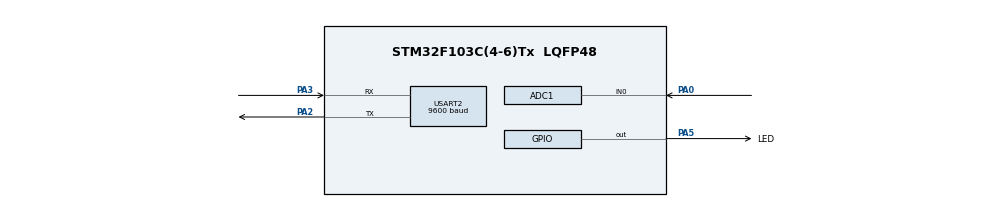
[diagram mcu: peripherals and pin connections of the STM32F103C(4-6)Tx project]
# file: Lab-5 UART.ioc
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ADC1.Channel-0\#ChannelRegularConversion=ADC_CHANNEL_0
ADC1.ContinuousConvMode=ENABLE
ADC1.NbrOfConversionFlag=1
ADC1.Rank-0\#ChannelRegularConversion=1
ADC1.SamplingTime-0\#ChannelRegularConversion=ADC_SAMPLETIME_1CYCLE_5
ADC1.master=1
Mcu.Family=STM32F1
Mcu.Name=STM32F103C(4-6)Tx
Mcu.Package=LQFP48
NVIC.PriorityGroup=NVIC_PRIORITYGROUP_4
NVIC.TIM2_IRQn=true\:0\:0\:false\:false\:true\:true\:true
NVIC.USART2_IRQn=true\:0\:0\:false\:false\:true\:true\:true
PA0-WKUP.Signal=ADCx_IN0
PA2.Mode=Asynchronous
PA2.Signal=USART2_TX
PA3.Mode=Asynchronous
PA3.Signal=USART2_RX
PA5.GPIO_Label=LED
PA5.Signal=GPIO_Output
ProjectManager.HeapSize=0x200
ProjectManager.StackSize=0x400
ProjectManager.TargetToolchain=STM32CubeIDE
RCC.APB1Freq_Value=8000000
RCC.APB2Freq_Value=8000000
SH.ADCx_IN0.0=ADC1_IN0,IN0
TIM2.Period=9
TIM2.Prescaler=7999
USART2.BaudRate=9600
USART2.VirtualMode=VM_ASYNC
VP_SYS_VS_ND.Mode=No_Debug
VP_TIM2_VS_ClockSourceINT.Mode=Internal
board=custom

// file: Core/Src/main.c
/* USER CODE BEGIN Header */
/**
 ******************************************************************************
 * @file           : main.c
 * @brief          : Main program body
 ******************************************************************************
 * @attention
 *
 * <h2><center>&copy; Copyright (c) 2023 STMicroelectronics.
 * All rights reserved.</center></h2>
 *
 * This software component is licensed by ST under BSD 3-Clause license,
 * the "License"; You may not use this file except in compliance with the
 * License. You may obtain a copy of the License at:
 *                        opensource.org/licenses/BSD-3-Clause
 *
 ******************************************************************************
 */
/* USER CODE END Header */
#include "main.h"

/* USER CODE BEGIN Includes */
#include <stdio.h>
#include <string.h>
/* USER CODE END Includes */

/* USER CODE BEGIN PD */
#define MAX_BUFFER_SIZE 30
#define TIMER_CYCLE 10
/* USER CODE END PD */

ADC_HandleTypeDef hadc1;

TIM_HandleTypeDef htim2;

UART_HandleTypeDef huart2;

/* USER CODE BEGIN PV */
static int timer1_counter = 0;
int timer1_flag = 0;
static uint8_t buffer_flag = 0;
static uint8_t receive_char = 0;
static uint8_t str[50];
static int ADC_value;

static enum { IDLE, SEND, WAIT } communication_state = IDLE;

static enum { NOTHING, START_SEND, DONE } communication_flag = NOTHING;

static enum { EMPTY, START, R, RS, RST, O, OK } command_state = EMPTY;
/* USER CODE END PV */

void SystemClock_Config(void);
static void MX_GPIO_Init(void);
static void MX_USART2_UART_Init(void);
static void MX_ADC1_Init(void);
static void MX_TIM2_Init(void);
/* USER CODE BEGIN PFP */
void HAL_TIM_PeriodElapsedCallback(TIM_HandleTypeDef* htim);
static void timer_run(void);
void setTimer1(int duration);
void HAL_UART_RxCpltCallback(UART_HandleTypeDef* huart);
void command_parser_fsm(void);
void uart_communication_fsm(void);
/* USER CODE END PFP */

/* USER CODE BEGIN 0 */
void HAL_TIM_PeriodElapsedCallback(TIM_HandleTypeDef* htim) { timer_run(); }

static void timer_run(void)
{
    if (timer1_counter > 0)
    {
        timer1_counter--;
        if (timer1_counter <= 0)
            timer1_flag = 1;  // turn on the flag, the function will run
    }
}

void setTimer1(int duration)  // to reset the timer.
{
    timer1_counter = duration / TIMER_CYCLE;
    timer1_flag = 0;
}

void HAL_UART_RxCpltCallback(UART_HandleTypeDef* huart)
{
    if (huart->Instance == USART2)
    {
        // HAL_UART_Transmit(&huart2, &receive_char, 1, 50);
        /*
        buffer[index_buffer] = receive_char;
        index_buffer++;
        if (index_buffer >= MAX_BUFFER_SIZE)
            index_buffer = 0;
        */

        buffer_flag = 1;
        HAL_UART_Receive_IT(&huart2, &receive_char, 1);
    }
}

void command_parser_fsm(void)
{
    //! RST# or
    //! OK#
    switch (command_state)
    {
        case EMPTY:
            if (receive_char == '!')
            {
                command_state = START;
            }

            break;
        case START:
            if (receive_char == 'R')
            {
                command_state = R;
            }
            else if ((receive_char == 'O'))
            {
                command_state = O;
            }
            else
            {
                command_state = EMPTY;
            }
            break;
        case R:
            if (receive_char == 'S')
            {
                command_state = RS;
            }
            else
            {
                command_state = EMPTY;
            }
            break;
        case RS:
            if (receive_char == 'T')
            {
                command_state = RST;
            }
            else
            {
                command_state = EMPTY;
            }
            break;
        case RST:
            if (receive_char == '#')
            {
                communication_flag = START_SEND;
            }
            command_state = EMPTY;
            break;
        case O:
            if (receive_char == 'K')
            {
                command_state = OK;
            }
            else
            {
                command_state = EMPTY;
            }
            break;
        case OK:
            if (receive_char == '#')
            {
                communication_flag = DONE;
            }
            command_state = EMPTY;
            break;
    }
}

void uart_communication_fsm(void)
{
    switch (communication_state)
    {
        case IDLE:
            if (communication_flag == START_SEND)
                communication_state = SEND;
            communication_flag = NOTHING;
            break;
        case SEND:
            ADC_value = HAL_ADC_GetValue(&hadc1);
            HAL_UART_Transmit(&huart2, str, sprintf(str, "!ADC = %d#", ADC_value), 1000);

            if (communication_flag == START_SEND)
            {
                communication_state = SEND;
            }
            else if (communication_flag == DONE)
            {
                communication_state = IDLE;
            }
            else
            {
                setTimer1(3000);
                communication_state = WAIT;
            }
            communication_flag = NOTHING;
            break;
        case WAIT:
            if (communication_flag == START_SEND)
            {
                communication_state = SEND;
            }
            else if (communication_flag == DONE)
            {
                communication_state = IDLE;
            }
            else // if (communication_flag == NOTHING)
            {
                if (timer1_flag == 1)
                {
                    setTimer1(3000);
                    HAL_UART_Transmit(&huart2, str, sprintf(str, "!ADC = %d#", ADC_value), 1000);
                }
            }
            communication_flag = NOTHING;
            break;
        default:
            break;
    }
}
/* USER CODE END 0 */

int main(void)
{

    /* MCU Configuration--------------------------------------------------------*/

    /* Reset of all peripherals, Initializes the Flash interface and the Systick. */
    HAL_Init();

    /* Configure the system clock */
    SystemClock_Config();

    /* Initialize all configured peripherals */
    MX_GPIO_Init();
    MX_USART2_UART_Init();
    MX_ADC1_Init();
    MX_TIM2_Init();
    /* USER CODE BEGIN 2 */
    HAL_UART_Receive_IT(&huart2, &receive_char, 1);
    HAL_ADC_Start(&hadc1);
    HAL_TIM_Base_Start_IT(&htim2);
    /* USER CODE END 2 */

    /* Infinite loop */
    /* USER CODE BEGIN WHILE */
    while (1)
    {
        if (buffer_flag)
        {
            command_parser_fsm();
            buffer_flag = 0;
        }

        uart_communication_fsm();
        /* USER CODE END WHILE */

    }
}

void SystemClock_Config(void)
{
    RCC_OscInitTypeDef RCC_OscInitStruct = {0};
    RCC_ClkInitTypeDef RCC_ClkInitStruct = {0};
    RCC_PeriphCLKInitTypeDef PeriphClkInit = {0};

    /** Initializes the RCC Oscillators according to the specified parameters
     * in the RCC_OscInitTypeDef structure.
     */
    RCC_OscInitStruct.OscillatorType = RCC_OSCILLATORTYPE_HSI;
    RCC_OscInitStruct.HSIState = RCC_HSI_ON;
    RCC_OscInitStruct.HSICalibrationValue = RCC_HSICALIBRATION_DEFAULT;
    RCC_OscInitStruct.PLL.PLLState = RCC_PLL_NONE;
    if (HAL_RCC_OscConfig(&RCC_OscInitStruct) != HAL_OK)
    {
        Error_Handler();
    }
    /** Initializes the CPU, AHB and APB buses clocks
     */
    RCC_ClkInitStruct.ClockType =
        RCC_CLOCKTYPE_HCLK | RCC_CLOCKTYPE_SYSCLK | RCC_CLOCKTYPE_PCLK1 | RCC_CLOCKTYPE_PCLK2;
    RCC_ClkInitStruct.SYSCLKSource = RCC_SYSCLKSOURCE_HSI;
    RCC_ClkInitStruct.AHBCLKDivider = RCC_SYSCLK_DIV1;
    RCC_ClkInitStruct.APB1CLKDivider = RCC_HCLK_DIV1;
    RCC_ClkInitStruct.APB2CLKDivider = RCC_HCLK_DIV1;

    if (HAL_RCC_ClockConfig(&RCC_ClkInitStruct, FLASH_LATENCY_0) != HAL_OK)
    {
        Error_Handler();
    }
    PeriphClkInit.PeriphClockSelection = RCC_PERIPHCLK_ADC;
    PeriphClkInit.AdcClockSelection = RCC_ADCPCLK2_DIV2;
    if (HAL_RCCEx_PeriphCLKConfig(&PeriphClkInit) != HAL_OK)
    {
        Error_Handler();
    }
}

static void MX_ADC1_Init(void)
{

    ADC_ChannelConfTypeDef sConfig = {0};

    /** Common config
     */
    hadc1.Instance = ADC1;
    hadc1.Init.ScanConvMode = ADC_SCAN_DISABLE;
    hadc1.Init.ContinuousConvMode = ENABLE;
    hadc1.Init.DiscontinuousConvMode = DISABLE;
    hadc1.Init.ExternalTrigConv = ADC_SOFTWARE_START;
    hadc1.Init.DataAlign = ADC_DATAALIGN_RIGHT;
    hadc1.Init.NbrOfConversion = 1;
    if (HAL_ADC_Init(&hadc1) != HAL_OK)
    {
        Error_Handler();
    }
    /** Configure Regular Channel
     */
    sConfig.Channel = ADC_CHANNEL_0;
    sConfig.Rank = ADC_REGULAR_RANK_1;
    sConfig.SamplingTime = ADC_SAMPLETIME_1CYCLE_5;
    if (HAL_ADC_ConfigChannel(&hadc1, &sConfig) != HAL_OK)
    {
        Error_Handler();
    }
}

static void MX_TIM2_Init(void)
{

    TIM_ClockConfigTypeDef sClockSourceConfig = {0};
    TIM_MasterConfigTypeDef sMasterConfig = {0};

    htim2.Instance = TIM2;
    htim2.Init.Prescaler = 7999;
    htim2.Init.CounterMode = TIM_COUNTERMODE_UP;
    htim2.Init.Period = 9;
    htim2.Init.ClockDivision = TIM_CLOCKDIVISION_DIV1;
    htim2.Init.AutoReloadPreload = TIM_AUTORELOAD_PRELOAD_DISABLE;
    if (HAL_TIM_Base_Init(&htim2) != HAL_OK)
    {
        Error_Handler();
    }
    sClockSourceConfig.ClockSource = TIM_CLOCKSOURCE_INTERNAL;
    if (HAL_TIM_ConfigClockSource(&htim2, &sClockSourceConfig) != HAL_OK)
    {
        Error_Handler();
    }
    sMasterConfig.MasterOutputTrigger = TIM_TRGO_RESET;
    sMasterConfig.MasterSlaveMode = TIM_MASTERSLAVEMODE_DISABLE;
    if (HAL_TIMEx_MasterConfigSynchronization(&htim2, &sMasterConfig) != HAL_OK)
    {
        Error_Handler();
    }
}

static void MX_USART2_UART_Init(void)
{

    huart2.Instance = USART2;
    huart2.Init.BaudRate = 9600;
    huart2.Init.WordLength = UART_WORDLENGTH_8B;
    huart2.Init.StopBits = UART_STOPBITS_1;
    huart2.Init.Parity = UART_PARITY_NONE;
    huart2.Init.Mode = UART_MODE_TX_RX;
    huart2.Init.HwFlowCtl = UART_HWCONTROL_NONE;
    huart2.Init.OverSampling = UART_OVERSAMPLING_16;
    if (HAL_UART_Init(&huart2) != HAL_OK)
    {
        Error_Handler();
    }
}

static void MX_GPIO_Init(void)
{
    GPIO_InitTypeDef GPIO_InitStruct = {0};

    /* GPIO Ports Clock Enable */
    __HAL_RCC_GPIOA_CLK_ENABLE();

    /*Configure GPIO pin Output Level */
    HAL_GPIO_WritePin(LED_GPIO_Port, LED_Pin, GPIO_PIN_RESET);

    /*Configure GPIO pin : LED_Pin */
    GPIO_InitStruct.Pin = LED_Pin;
    GPIO_InitStruct.Mode = GPIO_MODE_OUTPUT_PP;
    GPIO_InitStruct.Pull = GPIO_NOPULL;
    GPIO_InitStruct.Speed = GPIO_SPEED_FREQ_LOW;
    HAL_GPIO_Init(LED_GPIO_Port, &GPIO_InitStruct);
}

void Error_Handler(void)
{
    __disable_irq();
    while (1)
    {
    }
}

/************************ (C) COPYRIGHT STMicroelectronics *****END OF FILE****/
